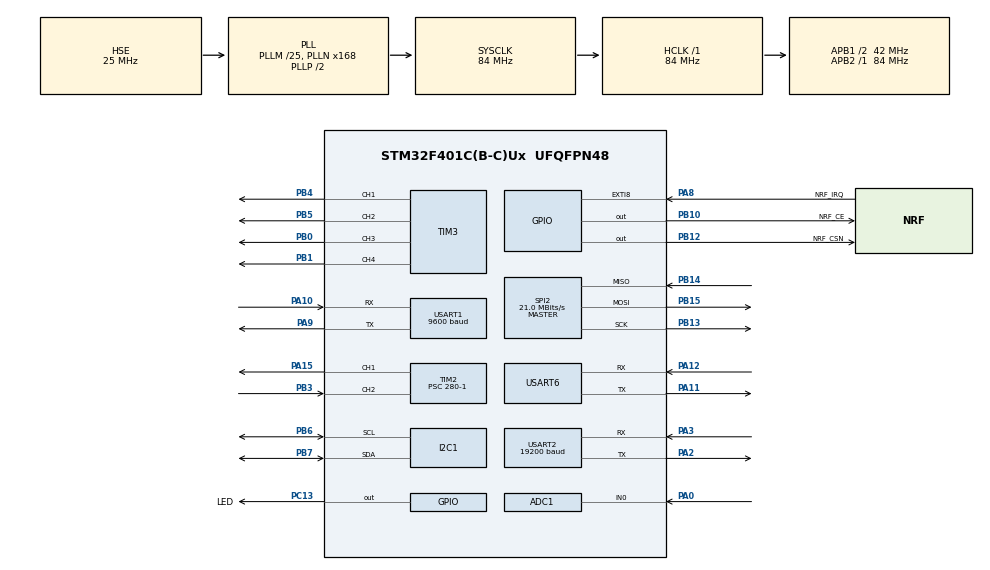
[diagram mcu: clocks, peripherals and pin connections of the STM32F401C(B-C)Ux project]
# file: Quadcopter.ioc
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ADC1.Channel-0\#ChannelRegularConversion=ADC_CHANNEL_0
ADC1.NbrOfConversionFlag=1
ADC1.Rank-0\#ChannelRegularConversion=1
ADC1.SamplingTime-0\#ChannelRegularConversion=ADC_SAMPLETIME_3CYCLES
ADC1.master=1
Dma.Request0=USART1_RX
Dma.Request1=USART2_RX
Dma.USART1_RX.0.Direction=DMA_PERIPH_TO_MEMORY
Dma.USART1_RX.0.FIFOMode=DMA_FIFOMODE_DISABLE
Dma.USART1_RX.0.Instance=DMA2_Stream2
Dma.USART1_RX.0.MemDataAlignment=DMA_MDATAALIGN_BYTE
Dma.USART1_RX.0.MemInc=DMA_MINC_ENABLE
Dma.USART1_RX.0.Mode=DMA_NORMAL
Dma.USART1_RX.0.PeriphDataAlignment=DMA_PDATAALIGN_BYTE
Dma.USART1_RX.0.PeriphInc=DMA_PINC_DISABLE
Dma.USART1_RX.0.Priority=DMA_PRIORITY_VERY_HIGH
Dma.USART2_RX.1.Direction=DMA_PERIPH_TO_MEMORY
Dma.USART2_RX.1.FIFOMode=DMA_FIFOMODE_DISABLE
Dma.USART2_RX.1.Instance=DMA1_Stream5
Dma.USART2_RX.1.MemDataAlignment=DMA_MDATAALIGN_BYTE
Dma.USART2_RX.1.MemInc=DMA_MINC_ENABLE
Dma.USART2_RX.1.Mode=DMA_NORMAL
Dma.USART2_RX.1.PeriphDataAlignment=DMA_PDATAALIGN_BYTE
Dma.USART2_RX.1.PeriphInc=DMA_PINC_DISABLE
Dma.USART2_RX.1.Priority=DMA_PRIORITY_LOW
I2C1.I2C_Mode=I2C_Fast
Mcu.Family=STM32F4
Mcu.Name=STM32F401C(B-C)Ux
Mcu.Package=UFQFPN48
NVIC.DMA1_Stream5_IRQn=true\:2\:0\:true\:false\:true\:false\:true
NVIC.DMA2_Stream2_IRQn=true\:2\:0\:true\:false\:true\:false\:true
NVIC.EXTI9_5_IRQn=true\:1\:0\:true\:false\:true\:true\:true
NVIC.PriorityGroup=NVIC_PRIORITYGROUP_2
NVIC.TIM2_IRQn=true\:2\:0\:true\:false\:true\:true\:true
NVIC.USART1_IRQn=true\:1\:0\:true\:false\:true\:true\:true
PA0-WKUP.Signal=ADCx_IN0
PA10.GPIO_ModeDefaultPP=GPIO_MODE_AF_PP
PA10.GPIO_PuPd=GPIO_NOPULL
PA10.GPIO_Speed=GPIO_SPEED_FREQ_VERY_HIGH
PA10.Mode=Asynchronous
PA10.Signal=USART1_RX
PA11.Mode=Asynchronous
PA11.Signal=USART6_TX
PA12.Mode=Asynchronous
PA12.Signal=USART6_RX
PA13.Mode=Serial_Wire
PA13.Signal=SYS_JTMS-SWDIO
PA14.Mode=Serial_Wire
PA14.Signal=SYS_JTCK-SWCLK
PA15.Signal=S_TIM2_CH1_ETR
PA2.Mode=Asynchronous
PA2.Signal=USART2_TX
PA3.Mode=Asynchronous
PA3.Signal=USART2_RX
PA8.GPIO_Label=NRF_IRQ
PA8.GPIO_ModeDefaultEXTI=GPIO_MODE_IT_FALLING
PA8.GPIO_PuPd=GPIO_PULLUP
PA8.Signal=GPXTI8
PA9.GPIO_ModeDefaultPP=GPIO_MODE_AF_PP
PA9.GPIO_PuPd=GPIO_NOPULL
PA9.GPIO_Speed=GPIO_SPEED_FREQ_VERY_HIGH
PA9.Mode=Asynchronous
PA9.Signal=USART1_TX
PB0.Signal=S_TIM3_CH3
PB1.Signal=S_TIM3_CH4
PB10.GPIO_Label=NRF_CE
PB10.Signal=GPIO_Output
PB12.GPIO_Label=NRF_CSN
PB12.Signal=GPIO_Output
PB13.Mode=Full_Duplex_Master
PB13.Signal=SPI2_SCK
PB14.Mode=Full_Duplex_Master
PB14.Signal=SPI2_MISO
PB15.Mode=Full_Duplex_Master
PB15.Signal=SPI2_MOSI
PB3.Signal=S_TIM2_CH2
PB4.Signal=S_TIM3_CH1
PB5.Signal=S_TIM3_CH2
PB6.Mode=I2C
PB6.Signal=I2C1_SCL
PB7.Mode=I2C
PB7.Signal=I2C1_SDA
PC13-ANTI_TAMP.GPIO_Label=LED
PC13-ANTI_TAMP.Signal=GPIO_Output
PH0\ -\ OSC_IN.Mode=HSE-External-Oscillator
PH0\ -\ OSC_IN.Signal=RCC_OSC_IN
PH1\ -\ OSC_OUT.Mode=HSE-External-Oscillator
PH1\ -\ OSC_OUT.Signal=RCC_OSC_OUT
ProjectManager.HeapSize=0x200
ProjectManager.StackSize=0x400
ProjectManager.TargetToolchain=SW4STM32
RCC.48MHZClocksFreq_Value=42000000
RCC.AHBFreq_Value=84000000
RCC.APB1CLKDivider=RCC_HCLK_DIV2
RCC.APB1Freq_Value=42000000
RCC.APB1TimFreq_Value=84000000
RCC.APB2Freq_Value=84000000
RCC.APB2TimFreq_Value=84000000
RCC.CortexFreq_Value=84000000
RCC.HCLKFreq_Value=84000000
RCC.HSE_VALUE=25000000
RCC.HSI_VALUE=16000000
RCC.LSE_VALUE=32768
RCC.PLLM=25
RCC.PLLN=168
RCC.PLLSourceVirtual=RCC_PLLSOURCE_HSE
RCC.SYSCLKFreq_VALUE=84000000
RCC.SYSCLKSource=RCC_SYSCLKSOURCE_PLLCLK
RCC.VCOOutputFreq_Value=168000000
SH.ADCx_IN0.0=ADC1_IN0,IN0
SH.S_TIM2_CH1_ETR.0=TIM2_CH1,PWM Generation1 CH1
SH.S_TIM2_CH2.0=TIM2_CH2,Input_Capture2_from_TI2
SH.S_TIM3_CH1.0=TIM3_CH1,PWM Generation1 CH1
SH.S_TIM3_CH2.0=TIM3_CH2,PWM Generation2 CH2
SH.S_TIM3_CH3.0=TIM3_CH3,PWM Generation3 CH3
SH.S_TIM3_CH4.0=TIM3_CH4,PWM Generation4 CH4
SPI2.BaudRatePrescaler=SPI_BAUDRATEPRESCALER_2
SPI2.CalculateBaudRate=21.0 MBits/s
SPI2.Direction=SPI_DIRECTION_2LINES
SPI2.Mode=SPI_MODE_MASTER
SPI2.VirtualType=VM_MASTER
TIM2.AutoReloadPreload=TIM_AUTORELOAD_PRELOAD_ENABLE
TIM2.Channel-Input_Capture2_from_TI2=TIM_CHANNEL_2
TIM2.Channel-PWM\ Generation1\ CH1=TIM_CHANNEL_1
TIM2.Period=60000-1
TIM2.Prescaler=280-1
TIM2.Pulse-PWM\ Generation1\ CH1=3
TIM3.Channel-PWM\ Generation1\ CH1=TIM_CHANNEL_1
TIM3.Channel-PWM\ Generation2\ CH2=TIM_CHANNEL_2
TIM3.Channel-PWM\ Generation3\ CH3=TIM_CHANNEL_3
TIM3.Channel-PWM\ Generation4\ CH4=TIM_CHANNEL_4
TIM4.AutoReloadPreload=TIM_AUTORELOAD_PRELOAD_ENABLE
TIM4.Period=40
TIM4.Prescaler=8400
USART1.BaudRate=9600
USART1.VirtualMode=VM_ASYNC
USART2.BaudRate=19200
USART2.VirtualMode=VM_ASYNC
USART6.VirtualMode=VM_ASYNC
VP_TIM2_VS_ClockSourceINT.Mode=Internal
VP_TIM3_VS_ClockSourceINT.Mode=Internal
VP_TIM4_VS_ClockSourceINT.Mode=Internal
board=custom

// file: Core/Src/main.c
/* USER CODE BEGIN Header */
/**
  ******************************************************************************
  * @file           : main.c
  * @brief          : Main program body
  ******************************************************************************
  * @attention
  *
  * <h2><center>&copy; Copyright (c) 2021 STMicroelectronics.
  * All rights reserved.</center></h2>
  *
  * This software component is licensed by ST under BSD 3-Clause license,
  * the "License"; You may not use this file except in compliance with the
  * License. You may obtain a copy of the License at:
  *                        opensource.org/licenses/BSD-3-Clause
  *
  ******************************************************************************
  */
/* USER CODE END Header */
#include "main.h"
#include "adc.h"
#include "dma.h"
#include "i2c.h"
#include "spi.h"
#include "tim.h"
#include "usart.h"
#include "gpio.h"

/* USER CODE BEGIN Includes */
#include "retarget.h"
#include "air530z.h"
#include "spl06.h"
#include "hc-sr04.h"
#include "nrf24l01.h"
#include "mpu6050.h"
#include "gl9306.h"
#include "imu.h"
#include "postureplot.h"
/* USER CODE END Includes */

/* USER CODE BEGIN PV */
/* MPU9250 */
MPU6050_CONFIG_t mpu6050Config;
MPU6050_DATA_t mpu6050Data;

/* AIR530Z */
AIR530Z_CONFIG_t air530ZConfig;
AIR530Z_GGA_t air530ZGga;
AIR530Z_RMC_t air530ZRmc;

/* SPL06 */
SPL06_CONFIG_t spl06Config;
SPL06_DATA_t spl06Data;

/* HC-SR04 */
HCSR04_CONFIG_t hcsr04Config;

/* NRF24L01 */
NRF24L01_CONFIG_t nrf24L01Config;
uint8_t RxAddr[5] = {0x34, 0x43, 0x10, 0x10, 0x02};
uint8_t TxAddr[5] = {0x34, 0x43, 0x10, 0x10, 0x02};
extern uint8_t NRF24L01_Tx_Rx_Status;
extern NRF24L01_PACKET_t NRF24L01_Rx_Buf;

/* IMU */
extern IMU_DATA_t imuData;

/* GL9306 */
GL9306_CONFIG_t gl9306Config;
GL9306_DATA_t gl9306Data;

/* USER CODE END PV */

void SystemClock_Config(void);
/* USER CODE BEGIN PFP */

void TEST_AIR530Z(void);
void TEST_SPL06(void);
void TEST_HCSR04(void);
void TEST_NRF24(void);
void TEST_MPU6050(void);
void TEST_IMU(void);
void TEST_GL9306(void);
/* USER CODE END PFP */

int main(void)
{
  /* USER CODE BEGIN 1 */

  uint32_t baseTime = 0;
  uint8_t eventIMU = 0;

  /* USER CODE END 1 */

  /* MCU Configuration--------------------------------------------------------*/

  /* Reset of all peripherals, Initializes the Flash interface and the Systick. */
  HAL_Init();

  /* Configure the system clock */
  SystemClock_Config();

  /* Initialize all configured peripherals */
  MX_GPIO_Init();
  MX_DMA_Init();
  MX_TIM3_Init();
  MX_ADC1_Init();
  MX_USART1_UART_Init();
  MX_SPI2_Init();
  MX_USART2_UART_Init();
  MX_USART6_UART_Init();
  MX_I2C1_Init();
  MX_TIM2_Init();
  MX_TIM4_Init();
  /* USER CODE BEGIN 2 */
  RetargetInit(&huart6);
  printf("start\r\n");

    /* MPU6050 */
    mpu6050Config.hi2c = &hi2c1;
    mpu6050Config.ACCEL_SCALE = ACCEL_SCALE_2G;
    mpu6050Config.GYRO_SCALE = GYRO_SCALE_250dps;
    MPU6050_Initialize(&mpu6050Config);
    HAL_Delay(500);
    MPU6050_Config(&mpu6050Config);
    HAL_Delay(500);
    MPU6050_Calibrate(&mpu6050Config);
    HAL_Delay(500);

    /* SPL06 */
    spl06Config.hi2c = &hi2c1;
    spl06Config.fifoEnable = 0;
    spl06Config.measurementMode = SPL06_MEAS_CTRL_ContinuousPressTemp;
    spl06Config.pressureRate = SPL06_PM_RATE_128;
    spl06Config.pressureOversamplingRate = SPL06_PM_PRC_16;
    spl06Config.temperatureRate = SPL06_TMP_RATE_32;
    spl06Config.temperatureOversamplingRate = SPL06_TMP_PRC_16;
//    SPL06_Initialize(&spl06Config);
//    SPL06_Config(&spl06Config);

    /* AIR530Z */
    air530ZConfig.huart = &huart1;
    AIR530Z_Initialize(&air530ZConfig);
    AIR530Z_Config(&air530ZConfig,AIR530Z_CFG_BAUDRATE_115200);
    AIR530Z_Config(&air530ZConfig,AIR530Z_CFG_SYSTEM_GPS_BDS_GLONASS);
    AIR530Z_Config(&air530ZConfig,AIR530Z_CFG_NMEA_ONLY_GGA_RMC);

    /* HC-SR04 */
    hcsr04Config.triggerTim = &htim2;
    hcsr04Config.triggerTimChannel=TIM_CHANNEL_1;
    hcsr04Config.echoTim = &htim2;
    hcsr04Config.echoTimChannel = TIM_CHANNEL_2;
    HCSR04_Initialize(&hcsr04Config);

    /* NRF24L01 */
    nrf24L01Config.hspi = &hspi2;
    nrf24L01Config.CSN_GPIO_Port_v = NRF_CSN_GPIO_Port;
    nrf24L01Config.CSN_Pin_v = NRF_CSN_Pin;
    nrf24L01Config.CE_GPIO_Port_v = NRF_CE_GPIO_Port;
    nrf24L01Config.CE_Pin_v = NRF_CE_Pin;
    nrf24L01Config.IRQ_GPIO_Port_v = NRF_IRQ_GPIO_Port;
    nrf24L01Config.IRQ_Pin_v = NRF_IRQ_Pin;
    nrf24L01Config.RX_Payload_Width = 20;
    nrf24L01Config.RX_ADR_Width = 5;
    nrf24L01Config.TX_Payload_Width = 20;
    nrf24L01Config.TX_ADR_Width = 5;
    for (int i = 0; i < 5; ++i) {
        nrf24L01Config.TX_Address[i] = TxAddr[i];
        nrf24L01Config.RX_Address[i] = RxAddr[i];
    }
//    NRF24L01_Initialize(&nrf24L01Config);
//    NRF24L01_RX_Mode(&nrf24L01Config);

    /* GL9306 */
    gl9306Config.huart = &huart2;
    GL9306_Initialize(&gl9306Config);

    /* IMU */
//    HAL_TIM_Base_Start_IT(&htim4);

  /* USER CODE END 2 */

  /* Infinite loop */
  /* USER CODE BEGIN WHILE */
#pragma clang diagnostic push
#pragma ide diagnostic ignored "EndlessLoop"

  while (1)
  {
    /* USER CODE END WHILE */

    /* USER CODE BEGIN 3 */
    HAL_GPIO_TogglePin(LED_GPIO_Port,LED_Pin);

    baseTime = TIM4->CNT;
    eventIMU = baseTime % 40;
//    if(eventIMU == 0)
//    {
//        MPU6050_Get7DOF(&mpu6050Data);
//        IMU_UPDATE(mpu6050Data.gyro[0],mpu6050Data.gyro[1],mpu6050Data.gyro[2],mpu6050Data.accel[0],mpu6050Data.accel[1],mpu6050Data.accel[2]);
//    }
//
//      TEST_IMU();
//      HAL_Delay(400);
//      TEST_SPL06();
//      TEST_AIR530Z();
//      TEST_GL9306();
        TEST_HCSR04();
  }
#pragma clang diagnostic pop
  /* USER CODE END 3 */
}

void SystemClock_Config(void)
{
  RCC_OscInitTypeDef RCC_OscInitStruct = {0};
  RCC_ClkInitTypeDef RCC_ClkInitStruct = {0};

  /** Configure the main internal regulator output voltage
  */
  __HAL_RCC_PWR_CLK_ENABLE();
  __HAL_PWR_VOLTAGESCALING_CONFIG(PWR_REGULATOR_VOLTAGE_SCALE2);
  /** Initializes the RCC Oscillators according to the specified parameters
  * in the RCC_OscInitTypeDef structure.
  */
  RCC_OscInitStruct.OscillatorType = RCC_OSCILLATORTYPE_HSE;
  RCC_OscInitStruct.HSEState = RCC_HSE_ON;
  RCC_OscInitStruct.PLL.PLLState = RCC_PLL_ON;
  RCC_OscInitStruct.PLL.PLLSource = RCC_PLLSOURCE_HSE;
  RCC_OscInitStruct.PLL.PLLM = 25;
  RCC_OscInitStruct.PLL.PLLN = 168;
  RCC_OscInitStruct.PLL.PLLP = RCC_PLLP_DIV2;
  RCC_OscInitStruct.PLL.PLLQ = 4;
  if (HAL_RCC_OscConfig(&RCC_OscInitStruct) != HAL_OK)
  {
    Error_Handler();
  }
  /** Initializes the CPU, AHB and APB buses clocks
  */
  RCC_ClkInitStruct.ClockType = RCC_CLOCKTYPE_HCLK|RCC_CLOCKTYPE_SYSCLK
                              |RCC_CLOCKTYPE_PCLK1|RCC_CLOCKTYPE_PCLK2;
  RCC_ClkInitStruct.SYSCLKSource = RCC_SYSCLKSOURCE_PLLCLK;
  RCC_ClkInitStruct.AHBCLKDivider = RCC_SYSCLK_DIV1;
  RCC_ClkInitStruct.APB1CLKDivider = RCC_HCLK_DIV2;
  RCC_ClkInitStruct.APB2CLKDivider = RCC_HCLK_DIV1;

  if (HAL_RCC_ClockConfig(&RCC_ClkInitStruct, FLASH_LATENCY_2) != HAL_OK)
  {
    Error_Handler();
  }
}

/* USER CODE BEGIN 4 */

/*** Test function begin ***/
void TEST_AIR530Z()
{
    AIR530Z_RESULT_t res=0;
    res=AIR530Z_GetLocation(&air530ZGga,&air530ZRmc);
    if(res==AIR530Z_RESULT_OK){
        printf("%s: %c:%f , %c:%f .\r\n",air530ZRmc.RMC,air530ZRmc.uLat,air530ZRmc.lat,air530ZRmc.uLon,air530ZRmc.lon);
        printf("%s: altitude:%f .\r\n\r\n",air530ZGga.GGA,air530ZGga.msl);
        HAL_Delay(1000);
    }else if (res == AIR530Z_RESULT_LOSTCONN)
    {
        printf("Lost Connction.\r\n\r\n");
    } else if (res == AIR530Z_RESULT_NOUPDATE){
        printf("NOUPDATE\r\n\r\n");
        HAL_Delay(1000);
    }
}

void TEST_SPL06()
{
    HAL_Delay(100);
//    SPL06_Update_FIFO(&spl06Data);
    SPL06_Update(&spl06Data);
    printf("temperature: %.2fC,pressure: %.2fPa,altitude: %.2fmm\r\n",spl06Data.temperature,spl06Data.pressure,spl06Data.altitude*100);
}

void TEST_HCSR04()
{
    printf("Distance: %.2f\r\n",HCSR04_GetDistance(27));
    HAL_Delay(200);
}

void TEST_NRF24() {
    static uint16_t timesOut;

    if (NRF24L01_Tx_Rx_Status == NRF24L01_RX_OK) {
        NRF24L01_Tx_Rx_Status = 0;
        timesOut = 0;
//        PROTECT_LOCK &= 1;
//
//        rxPitch = NRF24L01_Rx_Buf.Pitch;
//        rxRoll = NRF24L01_Rx_Buf.Roll;
//        rxYaw = NRF24L01_Rx_Buf.Yaw;
//        rxSpeed = NRF24L01_Rx_Buf.Speed;
//        rxP = NRF24L01_Rx_Buf.P;
//        rxI = NRF24L01_Rx_Buf.I;
//        rxD = NRF24L01_Rx_Buf.D;

//        PID_PITCH_ANGLE.kP = rxP;
//        PID_ROLL_ANGLE.kP = rxP;
//        printf("rxPitch: %d ,rxRoll: %d ,rxYaw: %d ,rxSpeed: %d ,rxP: %f ,rxI: %f ,rxD: %f .\r\n", rxPitch, rxRoll,
//               rxYaw, rxSpeed, rxP, rxI, rxD);
        printf("rxPitch: %d ,rxRoll: %d ,rxYaw: %d ,rxSpeed: %d .\r\n", NRF24L01_Rx_Buf.Pitch,  NRF24L01_Rx_Buf.Roll, NRF24L01_Rx_Buf.Yaw,  NRF24L01_Rx_Buf.Speed);
        HAL_GPIO_TogglePin(LED_GPIO_Port, LED_Pin);
    } else {
        //printf("Connect NO:: 0x%02x\r\n",NRF24L01_Tx_Rx_Status);
        timesOut++;
    }
    if (timesOut > 100)//lock after 5 times lost connection, just for test.
    {
//        PROTECT_LOCK |= 1<<1;
    }
}

void TEST_MPU6050() {

    // uncomment when TIM5 interrupt is closed.
    MPU6050_Get7DOF(&mpu6050Data);
//    printf("x:%d y:%d z:%d\r\n", mpu6050Data.accel_raw[0], mpu6050Data.accel_raw[1], mpu6050Data.accel_raw[2]);
    printf("x:%f y:%f z:%f\r\n", mpu6050Data.accel[0], mpu6050Data.accel[1], mpu6050Data.accel[2]);
//    uint8_t Rec_Data[2];
//    int16_t temp;

    // Read 2 BYTES of data starting from TEMP_OUT_H_REG register

//    HAL_I2C_Mem_Read(&hi2c1, MPU6050_DEVADDR, MPU6050_TEMP_OUT_H, 1, Rec_Data, 2, 100);
//
//    temp = (int16_t)(Rec_Data[0] << 8 | Rec_Data[1]);
//    printf("%f\r\n", (float)((int16_t)temp / (float)340.0 + (float)36.53));
    printf("temp:%f\r\n", mpu6050Data.temperature);
    /*
    // print as word
    printf("x:%f y:%f z:%f\r\n", mpu9250Data.accel[0], mpu9250Data.accel[1], mpu9250Data.accel[2]);
    printf("temp:%f\r\n", mpu9250Data.temperature);
    printf("roll: %f ,pitch: %f ,yaw: %f .\r\n", roll, pitch, yaw);
    */
    // plot in Serial Tool
    // posturePlot(&huart6);
}
void TEST_IMU() {
    HAL_Delay(2);
    posturePlot(&huart6);
//    printf("pitch: %.2f,roll: %.2f,yaw: %.2f.\r\n",imuData.pitch,imuData.roll,imuData.yaw);
}

void TEST_GL9306() {
    HAL_Delay(40);
    GL9306_Get(&gl9306Data);
    printf("DeltaX: %d, DeltaY: %d.\r\n",gl9306Data.DeltaX,gl9306Data.DeltaY);
}

void TEST_IMU_TICK()
{
    uint32_t tick_s = 0;
    uint32_t tick_e = 0;
    tick_s = HAL_GetTick();
    for (int t = 0; t < 3000; ++t) {
        MPU6050_Get7DOF(&mpu6050Data);
        IMU_UPDATE(mpu6050Data.gyro[0],mpu6050Data.gyro[1],mpu6050Data.gyro[2],mpu6050Data.accel[0],mpu6050Data.accel[1],mpu6050Data.accel[2]);
    }
    tick_e = HAL_GetTick();
    printf("%lu\r\n",tick_e-tick_s);
}

/*** Test function end ***/

/*** IRQ function begin ***/

void HAL_UARTEx_RxEventCallback(UART_HandleTypeDef *huart, uint16_t Size)
{
    if(huart->Instance == air530ZConfig.huart->Instance)
    {
        AIR530Z_IRQ(&air530ZConfig);
    }
    if(huart->Instance == gl9306Config.huart->Instance)
    {
        GL9306_IRQ(&gl9306Config);
    }
}

void HAL_TIM_IC_CaptureCallback(TIM_HandleTypeDef *htim)
{
    if(htim==hcsr04Config.echoTim)
    {
        HCSR04_IRQ(&hcsr04Config);
    }
}

void HAL_GPIO_EXTI_Callback(uint16_t GPIO_Pin) {
    if (GPIO_Pin == NRF_IRQ_Pin) {
        NRF24L01_EXTI_IRQHandler(&nrf24L01Config);
    }
}

void HAL_TIM_PeriodElapsedCallback(TIM_HandleTypeDef *htim){
//    if (htim == &htim4){
//        MPU6050_Get7DOF(&mpu6050Data);
//        IMU_UPDATE(mpu6050Data.gyro[0],mpu6050Data.gyro[1],mpu6050Data.gyro[2],mpu6050Data.accel[0],mpu6050Data.accel[1],mpu6050Data.accel[2]);
//    }
}

/*** IRQ function end ***/

/* USER CODE END 4 */

void Error_Handler(void)
{
  __disable_irq();
  while (1)
  {
  }
}

/************************ (C) COPYRIGHT STMicroelectronics *****END OF FILE****/
